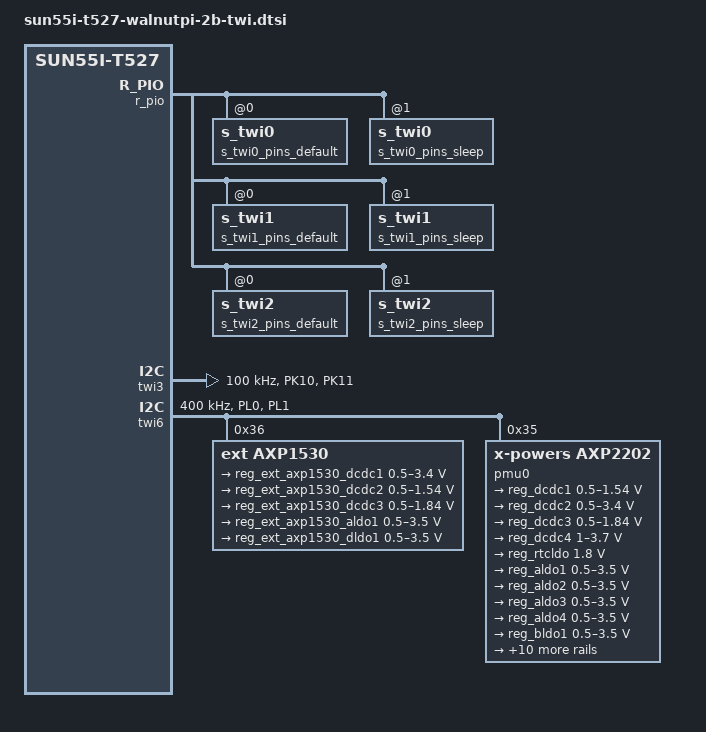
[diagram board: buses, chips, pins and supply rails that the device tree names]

&pio {
	
	twi0_pins_default: twi0@0 {
		pins = "PD22", "PD23";
		function = "twi0";
		drive-strength = <10>;
		bias-pull-up;
	};
	
	twi0_pins_sleep: twi0@1 {
		pins = "PD22", "PD23";
		function = "gpio_in";
	};
	
	
	twi3_pins_default: twi3@0 {
		pins = "PK10", "PK11";
		function = "twi3";
		drive-strength = <20>;
		bias-pull-up;
	};
	
	twi3_pins_sleep: twi3@1 {
		pins = "PK10", "PK11";
		function = "gpio_in";
	};
	
	twi4_pins_default: twi4@0 {
		pins = "PE13", "PE14";
		function = "twi4";
		drive-strength = <10>;
		bias-pull-up;
	};
	
	twi4_pins_sleep: twi4@1 {
		pins = "PE13", "PE14";
		function = "gpio_in";
	};
	
	twi5_pins_default: twi5@0 {
		pins = "PI8", "PI9";
		function = "twi5";
		drive-strength = <10>;
		bias-pull-up;
	};
	
	twi5_pins_sleep: twi5@1 {
		pins = "PI8", "PI9";
		function = "gpio_in";
	};
	
};
&r_pio {
	
	s_twi0_pins_default: s_twi0@0 {
		pins = "PL0", "PL1";
		function = "s_twi0";
		drive-strength = <10>;
		bias-pull-up;
	};
	
	s_twi0_pins_sleep: s_twi0@1 {
		pins = "PL0", "PL1";
		function = "gpio_in";
	};
	
	s_twi1_pins_default: s_twi1@0 {
		pins = "PL8", "PL9";
		function = "s_twi1";
		drive-strength = <10>;
		bias-pull-up;
	};
	
	s_twi1_pins_sleep: s_twi1@1 {
		pins = "PL8", "PL9";
		function = "gpio_in";
	};
	
	s_twi2_pins_default: s_twi2@0 {
		pins = "PL12", "PL13";
		function = "s_twi2";
		drive-strength = <10>;
		bias-pull-up;
	};
	
	s_twi2_pins_sleep: s_twi2@1 {
		pins = "PL12", "PL13";
		function = "gpio_in";
	};
};

&twi0 {
	clock-frequency = <400000>;
	pinctrl-0 = <&twi0_pins_default>;
	pinctrl-1 = <&twi0_pins_sleep>;
	pinctrl-names = "default", "sleep";
	/* For stability and backwards compatibility, we recommend setting ‘twi_drv_used’ to 1 */
	twi_drv_used = <1>;
	twi-supply = <&reg_dcdc4>;
	status = "disabled";
};



&twi3 {
	clock-frequency = <100000>;
	pinctrl-0 = <&twi3_pins_default>;
	// pinctrl-1 = <&twi3_pins_sleep>;
	// pinctrl-names = "default", "sleep";
	pinctrl-names = "default";
	/* For stability and backwards compatibility, we recommend setting ‘twi_drv_used’ to 1 */
	twi_drv_used = <1>;
	twi-supply = <&reg_dcdc4>;
	status = "okay";

};


&twi5 {
	clock-frequency = <400000>;
	pinctrl-0 = <&twi5_pins_default>;
	pinctrl-1 = <&twi5_pins_sleep>;
	pinctrl-names = "default", "sleep";
	/* For stability and backwards compatibility, we recommend setting ‘twi_drv_used’ to 1 */
	twi_drv_used = <1>;
	twi-supply = <&reg_dcdc4>;
	status = "disabled";
};


&twi6 {
	clock-frequency = <400000>;
	pinctrl-0 = <&s_twi0_pins_default>;
	pinctrl-1 = <&s_twi0_pins_sleep>;
	pinctrl-names = "default", "sleep";
	device_type = "twi6";
	/* For stability and backwards compatibility, we recommend setting ‘twi_drv_used’ to 1 */
	twi_drv_used = <1>;
	no_suspend = <1>;
	status = "okay";
	
	axp1530: axp1530@36{
		compatible = "ext,axp1530";
		status = "okay";
		reg = <0x36>;
		
		wakeup-source;
		
		regulators{
			reg_ext_axp1530_dcdc1: dcdc1 {
				regulator-name = "axp1530-dcdc1";
				regulator-min-microvolt = <500000>;
				regulator-max-microvolt = <3400000>;
				regulator-step-delay-us = <25>;
				regulator-final-delay-us = <50>;
				regulator-always-on;
			};
			
			reg_ext_axp1530_dcdc2: dcdc2 {
				regulator-name = "axp1530-dcdc2";
				regulator-min-microvolt = <500000>;
				regulator-max-microvolt = <1540000>;
				regulator-step-delay-us = <25>;
				regulator-final-delay-us = <50>;
				regulator-ramp-delay = <200>; /* FIXME */
				regulator-always-on;
			};
			
			reg_ext_axp1530_dcdc3: dcdc3 {
				regulator-name = "axp1530-dcdc3";
				regulator-min-microvolt = <500000>;
				regulator-max-microvolt = <1840000>;
				regulator-step-delay-us = <25>;
				regulator-final-delay-us = <50>;
				regulator-always-on;
			};
			
			reg_ext_axp1530_aldo1: ldo1 {
				regulator-name = "axp1530-aldo1";
				regulator-min-microvolt = <500000>;
				regulator-max-microvolt = <3500000>;
				regulator-step-delay-us = <25>;
				regulator-final-delay-us = <50>;
			};
			
			reg_ext_axp1530_dldo1: ldo2 {
				regulator-name = "axp1530-dldo1";
				regulator-min-microvolt = <500000>;
				regulator-max-microvolt = <3500000>;
				regulator-step-delay-us = <25>;
				regulator-final-delay-us = <50>;
			};
		};
		virtual-ext-dcdc1 {
			compatible = "xpower-vregulator,ext-dcdc1";
			dcdc1-supply = <&reg_ext_axp1530_dcdc1>;
		};
		virtual-ext-dcdc2 {
			compatible = "xpower-vregulator,ext-dcdc2";
			dcdc2-supply = <&reg_ext_axp1530_dcdc2>;
		};
		virtual-ext-dcdc3 {
			compatible = "xpower-vregulator,ext-dcdc3";
			dcdc3-supply = <&reg_ext_axp1530_dcdc3>;
		};
		virtual-ext-aldo1 {
			compatible = "xpower-vregulator,ext-aldo1";
			aldo1-supply = <&reg_ext_axp1530_aldo1>;
		};
		virtual-ext-dldo1 {
			compatible = "xpower-vregulator,ext-dldo1";
			dldo1-supply = <&reg_ext_axp1530_dldo1>;
		};
		
	};
	
	pmu0: pmu@35 {
		compatible = "x-powers,axp2202";
		reg = <0x35>;
		status = "okay";
		interrupts = <0 IRQ_TYPE_LEVEL_LOW>;
		interrupt-parent = <&nmi_intc>;
		x-powers,drive-vbus-en;
		pmu_reset = <0>;
		pmu_irq_wakeup = <1>;
		pmu_hot_shutdown = <1>;
		pmu_over_current = <1>;
		pmu_hot_shutdown_value = <125>;
		wakeup-source;
		
		usb_power_supply: usb_power_supply {
			compatible = "x-powers,axp2202-usb-power-supply";
			status = "okay";
			
			pmu_usbpc_vol = <4600>;
			pmu_usbpc_cur = <500>;
			pmu_usbad_vol = <4000>;
			pmu_usbad_cur = <2500>;
			pmu_usb_typec_used = <1>;
			wakeup_usb_in;
			wakeup_usb_out;
			
			det_acin_supply = <&gpio_power_supply>;
			pmu_acin_usbid_drv = <&pio PH 12 GPIO_ACTIVE_LOW>;
			pmu_vbus_det_gpio = <&pio PI 13 GPIO_ACTIVE_LOW>;
		};
		
		gpio_power_supply: gpio_power_supply {
			compatible = "x-powers,gpio-supply";
			status = "disabled";
			pmu_acin_det_gpio = <&pio PH 14 GPIO_ACTIVE_LOW>;
			det_usb_supply = <&usb_power_supply>;
		};
		
		bat_power_supply: bat-power-supply {
			compatible = "x-powers,axp2202-bat-power-supply";
			param = <&axp2202_parameter>;
			status = "disabled";
			
			pmu_chg_ic_temp = <0>;
			
			pmu_battery_rdc= <147>;
			pmu_battery_cap = <1771>;
			pmu_runtime_chgcur = <1000>;
			pmu_suspend_chgcur = <1500>;
			pmu_shutdown_chgcur = <1500>;
			pmu_init_chgvol = <4200>;
			pmu_battery_warning_level1 = <15>;
			pmu_battery_warning_level2 = <0>;
			pmu_chgled_func = <0>;
			pmu_chgled_type = <0>;
			pmu_bat_para1 = <0>;
			pmu_bat_para2 = <0>;
			pmu_bat_para3 = <0>;
			pmu_bat_para4 = <0>;
			pmu_bat_para5 = <0>;
			pmu_bat_para6 = <0>;
			pmu_bat_para7 = <2>;
			pmu_bat_para8 = <3>;
			pmu_bat_para9 = <4>;
			pmu_bat_para10 = <6>;
			pmu_bat_para11 = <9>;
			pmu_bat_para12 = <14>;
			pmu_bat_para13 = <26>;
			pmu_bat_para14 = <38>;
			pmu_bat_para15 = <49>;
			pmu_bat_para16 = <52>;
			pmu_bat_para17 = <56>;
			pmu_bat_para18 = <60>;
			pmu_bat_para19 = <64>;
			pmu_bat_para20 = <70>;
			pmu_bat_para21 = <77>;
			pmu_bat_para22 = <83>;
			pmu_bat_para23 = <87>;
			pmu_bat_para24 = <90>;
			pmu_bat_para25 = <95>;
			pmu_bat_para26 = <99>;
			pmu_bat_para27 = <99>;
			pmu_bat_para28 = <100>;
			pmu_bat_para29 = <100>;
			pmu_bat_para30 = <100>;
			pmu_bat_para31 = <100>;
			pmu_bat_para32 = <100>;
			
			pmu_bat_temp_enable = <1>;
			pmu_jetia_en        = <1>;
			pmu_bat_charge_ltf = <1738>;//-5
			pmu_bat_charge_htf = <150>;//60
			pmu_bat_shutdown_ltf = <2125>;//-10
			pmu_bat_shutdown_htf = <130>;//65
			pmu_jetia_cool = <1390>;//0
			pmu_jetia_warm = <206>;//50
			pmu_jcool_ifall = <2>;//75%
			pmu_jwarm_ifall = <2>;//75%
			pmu_bat_temp_para1 = <4592>;//SDNT-25
			pmu_bat_temp_para2 = <2781>;//-15
			pmu_bat_temp_para3 = <2125>;//-10
			pmu_bat_temp_para4 = <1738>;//-5
			pmu_bat_temp_para5 = <1390>;//0
			pmu_bat_temp_para6 = <1118>;//5
			pmu_bat_temp_para7 = <906>;//10
			pmu_bat_temp_para8 = <606>;//20
			pmu_bat_temp_para9 = <415>;//30
			pmu_bat_temp_para10 = <290>;//40
			pmu_bat_temp_para11 = <244>;//45
			pmu_bat_temp_para12 = <206>;//50
			pmu_bat_temp_para13 = <175>;//55
			pmu_bat_temp_para14 = <150>;//60
			pmu_bat_temp_para15 = <110>;//70
			pmu_bat_temp_para16 = <83>;//80
			
			wakeup_bat_out;
			/* wakeup_bat_in; */
			/* wakeup_bat_charging; */
			/* wakeup_bat_charge_over; */
			/* wakeup_low_warning1; */
			/* wakeup_low_warning2; */
			/* wakeup_bat_untemp_work; */
			/* wakeup_bat_ovtemp_work; */
			/* wakeup_bat_untemp_chg; */
			/* wakeup_bat_ovtemp_chg; */
		};
		
		powerkey0: powerkey@0 {
			status = "okay";
			compatible = "x-powers,axp2101-pek";
			pmu_powkey_off_time = <6000>;
			pmu_powkey_off_func = <0>;
			pmu_powkey_off_en = <1>;
			pmu_powkey_long_time = <1500>;
			pmu_powkey_on_time = <2000>;
			wakeup_rising;
			wakeup_falling;
		};
		
		regulator0: regulators@0 {
			reg_dcdc1: dcdc1 {
				regulator-name = "axp2202-dcdc1";
				regulator-min-microvolt = <500000>;
				regulator-max-microvolt = <1540000>;
				regulator-ramp-delay = <250>;
				regulator-enable-ramp-delay = <1000>;
				regulator-boot-on;
				regulator-always-on;
			};
			reg_dcdc2: dcdc2 {
				regulator-name = "axp2202-dcdc2";
				regulator-min-microvolt = <500000>;
				regulator-max-microvolt = <3400000>;
				regulator-ramp-delay = <250>;
				regulator-enable-ramp-delay = <1000>;
				regulator-boot-on;
				regulator-always-on;
			};
			reg_dcdc3: dcdc3 {
				regulator-name = "axp2202-dcdc3";
				regulator-min-microvolt = <500000>;
				regulator-max-microvolt = <1840000>;
				regulator-ramp-delay = <250>;
				regulator-enable-ramp-delay = <1000>;
				regulator-always-on;
			};
			reg_dcdc4: dcdc4 {
				regulator-name = "axp2202-dcdc4";
				regulator-min-microvolt = <1000000>;
				regulator-max-microvolt = <3700000>;
				regulator-ramp-delay = <250>;
				regulator-enable-ramp-delay = <1000>;
			};
			reg_rtcldo: rtcldo {
				/* RTC_LDO is a fixed, always-on regulator */
				regulator-name = "axp2202-rtcldo";
				regulator-min-microvolt = <1800000>;
				regulator-max-microvolt = <1800000>;
				regulator-boot-on;
				regulator-always-on;
			};
			reg_aldo1: aldo1 {
				regulator-name = "axp2202-aldo1";
				regulator-min-microvolt = <500000>;
				regulator-max-microvolt = <3500000>;
				regulator-enable-ramp-delay = <1000>;
			};
			reg_aldo2: aldo2 {
				regulator-name = "axp2202-aldo2";
				regulator-min-microvolt = <500000>;
				regulator-max-microvolt = <3500000>;
				regulator-enable-ramp-delay = <1000>;
			};
			reg_aldo3: aldo3 {
				regulator-name = "axp2202-aldo3";
				regulator-min-microvolt = <500000>;
				regulator-max-microvolt = <3500000>;
				regulator-enable-ramp-delay = <1000>;
				regulator-always-on;
				regulator-boot-on;
			};
			reg_aldo4: aldo4 {
				regulator-name = "axp2202-aldo4";
				regulator-min-microvolt = <500000>;
				regulator-max-microvolt = <3500000>;
				regulator-enable-ramp-delay = <1000>;
				regulator-always-on;
				regulator-boot-on;
			};
			reg_bldo1: bldo1 {
				regulator-name = "axp2202-bldo1";
				regulator-min-microvolt = <500000>;
				regulator-max-microvolt = <3500000>;
				regulator-enable-ramp-delay = <1000>;
				regulator-always-on;
				regulator-boot-on;
			};
			reg_bldo2: bldo2 {
				regulator-name = "axp2202-bldo2";
				regulator-min-microvolt = <500000>;
				regulator-max-microvolt = <3500000>;
				regulator-enable-ramp-delay = <1000>;
				regulator-boot-on;
				regulator-always-on;
			};
			reg_bldo3: bldo3 {
				regulator-name = "axp2202-bldo3";
				regulator-min-microvolt = <500000>;
				regulator-max-microvolt = <3500000>;
				regulator-enable-ramp-delay = <1000>;
			};
			reg_bldo4: bldo4 {
				regulator-name = "axp2202-bldo4";
				regulator-min-microvolt = <500000>;
				regulator-max-microvolt = <3500000>;
				regulator-enable-ramp-delay = <1000>;
			};
			reg_cldo1: cldo1 {
				regulator-name = "axp2202-cldo1";
				regulator-min-microvolt = <500000>;
				regulator-max-microvolt = <3500000>;
				regulator-enable-ramp-delay = <1000>;
			};
			reg_cldo2: cldo2 {
				regulator-name = "axp2202-cldo2";
				regulator-min-microvolt = <500000>;
				regulator-max-microvolt = <3500000>;
				regulator-enable-ramp-delay = <1000>;
			};
			reg_cldo3: cldo3 {
				regulator-name = "axp2202-cldo3";
				regulator-min-microvolt = <500000>;
				regulator-max-microvolt = <3500000>;
				regulator-ramp-delay = <2500>;
				regulator-enable-ramp-delay = <1000>;
				regulator-boot-on;
				regulator-always-on;
			};
			reg_cldo4: cldo4 {
				regulator-name = "axp2202-cldo4";
				regulator-min-microvolt = <500000>;
				regulator-max-microvolt = <3500000>;
				regulator-enable-ramp-delay = <1000>;
			};
			reg_cpusldo: cpusldo {
				/* cpus */
				regulator-name = "axp2202-cpusldo";
				regulator-min-microvolt = <500000>;
				regulator-max-microvolt = <1400000>;
				regulator-boot-on;
				regulator-always-on;
			};
			reg_vmid: vmid {
				regulator-name = "axp2202-vmid";
				regulator-enable-ramp-delay = <1000>;
			};
			reg_drivevbus: drivevbus {
				regulator-name = "axp2202-drivevbus";
				regulator-enable-ramp-delay = <1000>;
				drivevbusin-supply = <&reg_vmid>;
			};
		};
		
		virtual-dcdc1 {
			compatible = "xpower-vregulator,dcdc1";
			dcdc1-supply = <&reg_dcdc1>;
		};
		virtual-dcdc2 {
			compatible = "xpower-vregulator,dcdc2";
			dcdc2-supply = <&reg_dcdc2>;
		};
		virtual-dcdc3 {
			compatible = "xpower-vregulator,dcdc3";
			dcdc3-supply = <&reg_dcdc3>;
		};
		virtual-dcdc4 {
			compatible = "xpower-vregulator,dcdc4";
			dcdc4-supply = <&reg_dcdc4>;
		};
		virtual-rtcldo {
			compatible = "xpower-vregulator,rtcldo";
			rtcldo-supply = <&reg_rtcldo>;
		};
		virtual-aldo1 {
			compatible = "xpower-vregulator,aldo1";
			aldo1-supply = <&reg_aldo1>;
		};
		virtual-aldo2 {
			compatible = "xpower-vregulator,aldo2";
			aldo2-supply = <&reg_aldo2>;
		};
		virtual-aldo3 {
			compatible = "xpower-vregulator,aldo3";
			aldo3-supply = <&reg_aldo3>;
		};
		virtual-aldo4 {
			compatible = "xpower-vregulator,aldo4";
			aldo4-supply = <&reg_aldo4>;
		};
		virtual-bldo1 {
			compatible = "xpower-vregulator,bldo1";
			bldo1-supply = <&reg_bldo1>;
		};
		virtual-bldo2 {
			compatible = "xpower-vregulator,bldo2";
			bldo2-supply = <&reg_bldo2>;
		};
		virtual-bldo3 {
			compatible = "xpower-vregulator,bldo3";
			bldo3-supply = <&reg_bldo3>;
		};
		virtual-bldo4 {
			compatible = "xpower-vregulator,bldo4";
			bldo4-supply = <&reg_bldo4>;
		};
		virtual-cldo1 {
			compatible = "xpower-vregulator,cldo1";
			cldo1-supply = <&reg_cldo1>;
		};
		virtual-cldo2 {
			compatible = "xpower-vregulator,cldo2";
			cldo2-supply = <&reg_cldo2>;
		};
		virtual-cldo3 {
			compatible = "xpower-vregulator,cldo3";
			cldo3-supply = <&reg_cldo3>;
		};
		virtual-cldo4 {
			compatible = "xpower-vregulator,cldo4";
			cldo4-supply = <&reg_cldo4>;
		};
		virtual-cpusldo {
			compatible = "xpower-vregulator,cpusldo";
			cpusldo-supply = <&reg_cpusldo>;
		};
		virtual-drivevbus {
			compatible = "xpower-vregulator,drivevbus";
			drivevbus-supply = <&reg_drivevbus>;
		};
		axp_gpio0: axp_gpio@0 {
			gpio-controller;
			#size-cells = <0>;
			#gpio-cells = <6>;
			status = "okay";
		};
	};
};

&twi7 {
	clock-frequency = <400000>;
	pinctrl-0 = <&s_twi1_pins_default>;
	pinctrl-1 = <&s_twi1_pins_sleep>;
	pinctrl-names = "default", "sleep";
	/* For stability and backwards compatibility, we recommend setting ‘twi_drv_used’ to 1 */
	twi_drv_used = <1>;
	twi-supply = <&reg_aldo3>;
	status = "disabled";
};

&twi8 {
	clock-frequency = <400000>;
	pinctrl-0 = <&s_twi2_pins_default>;
	pinctrl-1 = <&s_twi2_pins_sleep>;
	pinctrl-names = "default", "sleep";
	/* For stability and backwards compatibility, we recommend setting ‘twi_drv_used’ to 1 */
	twi_drv_used = <1>;
	twi-supply = <&reg_aldo3>;
	status = "disabled";
};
